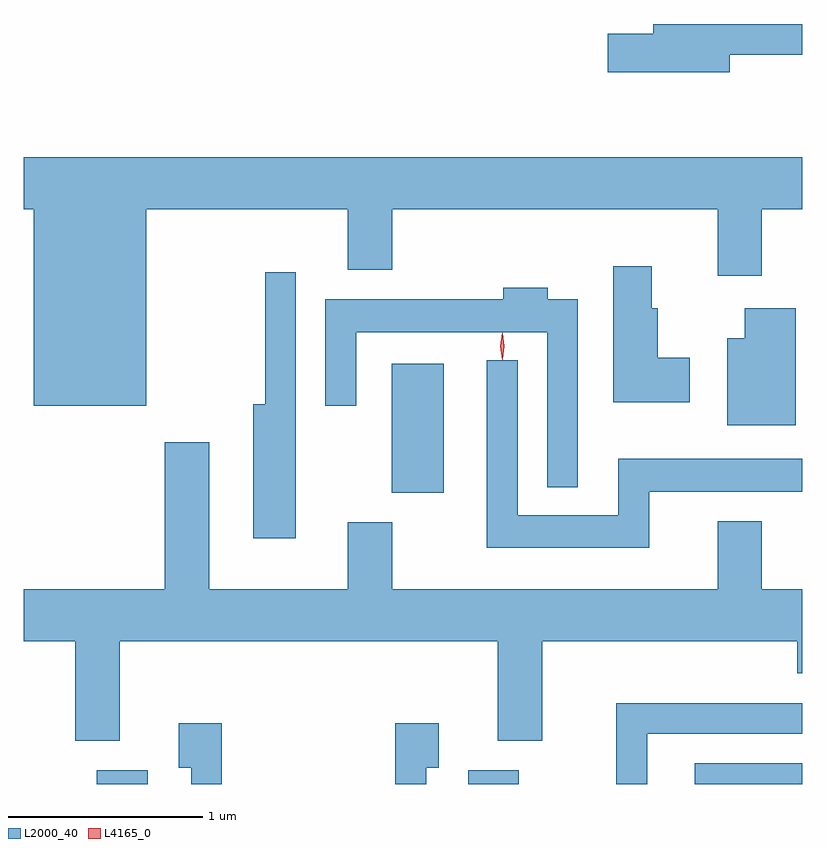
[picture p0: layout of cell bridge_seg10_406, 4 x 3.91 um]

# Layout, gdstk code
import gdstk
lib = gdstk.Library(unit=1e-6, precision=1e-09)
def R(c, l, rs):  # rectangles x0, y0, x1, y1
    for r in rs: c.add(gdstk.rectangle(r[:2], r[2:], *l))
def P(c, l, *ps):  # polygons
    for p in ps: c.add(gdstk.Polygon(p, *l))
L2000_40 = (2000, 40)
L4165_0 = (4165, 0)

bridge_seg10_406 = lib.new_cell('bridge_seg10_406')
R(bridge_seg10_406, L2000_40, [(1422.541,2086.543,1422.804,2086.614), (1424.451,2086.543,1424.709,2086.614), (1425.613,2086.543,1426.166,2086.649), (1424.056,2088.041,1424.324,2088.704)])
P(bridge_seg10_406, L2000_40, [(1425.794,2090.291),(1426.166,2090.291),(1426.166,2090.449),(1425.401,2090.449),(1425.401,2090.399),(1425.166,2090.399),(1425.166,2090.201),(1425.794,2090.201)],
  [(1422.794,2089.496),(1423.831,2089.496),(1423.831,2089.186),(1424.059,2089.186),(1424.059,2089.496),(1425.731,2089.496),(1425.731,2089.156),(1425.959,2089.156),(1425.959,2089.496),(1426.166,2089.496),(1426.166,2089.764),(1422.166,2089.764),(1422.166,2089.496),(1422.216,2089.496),(1422.216,2088.486),(1422.794,2088.486)],
  [(1425.589,2088.734),(1425.424,2088.734),(1425.424,2088.989),(1425.394,2088.989),(1425.394,2089.204),(1425.196,2089.204),(1425.196,2088.506),(1425.589,2088.506)],
  [(1423.564,2089.173),(1423.406,2089.173),(1423.406,2088.494),(1423.346,2088.494),(1423.346,2087.806),(1423.564,2087.806)],
  [(1425.014,2089.034),(1424.859,2089.034),(1424.859,2089.094),(1424.631,2089.094),(1424.631,2089.034),(1423.716,2089.034),(1423.716,2088.488),(1423.874,2088.488),(1423.874,2088.866),(1424.856,2088.866),(1424.856,2088.068),(1425.014,2088.068)],
  [(1426.134,2088.989),(1425.871,2088.989),(1425.871,2088.834),(1425.781,2088.834),(1425.781,2088.386),(1426.134,2088.386)],
  [(1425.379,2088.046),(1426.166,2088.046),(1426.166,2088.214),(1425.221,2088.214),(1425.221,2087.924),(1424.704,2087.924),(1424.704,2088.722),(1424.546,2088.722),(1424.546,2087.756),(1425.379,2087.756)],
  [(1422.659,2087.276),(1424.601,2087.276),(1424.601,2086.766),(1424.829,2086.766),(1424.829,2087.276),(1426.141,2087.276),(1426.141,2087.111),(1426.166,2087.111),(1426.166,2087.544),(1425.959,2087.544),(1425.959,2087.894),(1425.731,2087.894),(1425.731,2087.544),(1424.059,2087.544),(1424.059,2087.889),(1423.831,2087.889),(1423.831,2087.544),(1423.119,2087.544),(1423.119,2088.299),(1422.891,2088.299),(1422.891,2087.544),(1422.166,2087.544),(1422.166,2087.276),(1422.431,2087.276),(1422.431,2086.766),(1422.659,2086.766)],
  [(1425.369,2086.801),(1426.166,2086.801),(1426.166,2086.959),(1425.211,2086.959),(1425.211,2086.543),(1425.369,2086.543)],
  [(1424.234,2086.626),(1424.299,2086.626),(1424.299,2086.854),(1424.076,2086.854),(1424.076,2086.543),(1424.234,2086.543)],
  [(1423.184,2086.854),(1422.961,2086.854),(1422.961,2086.626),(1423.026,2086.626),(1423.026,2086.543),(1423.184,2086.543)])
P(bridge_seg10_406, L4165_0, [(1424.624,2088.724),(1424.615,2088.794),(1424.624,2088.862),(1424.625,2088.863),(1424.625,2088.862),(1424.635,2088.794),(1424.625,2088.724),(1424.625,2088.724)],
  [(1424.625,2088.727),(1424.625,2088.727),(1424.616,2088.794),(1424.625,2088.86),(1424.626,2088.86),(1424.626,2088.86),(1424.635,2088.794),(1424.626,2088.727)])

lib.write_gds('bridge_seg10_406.gds')
